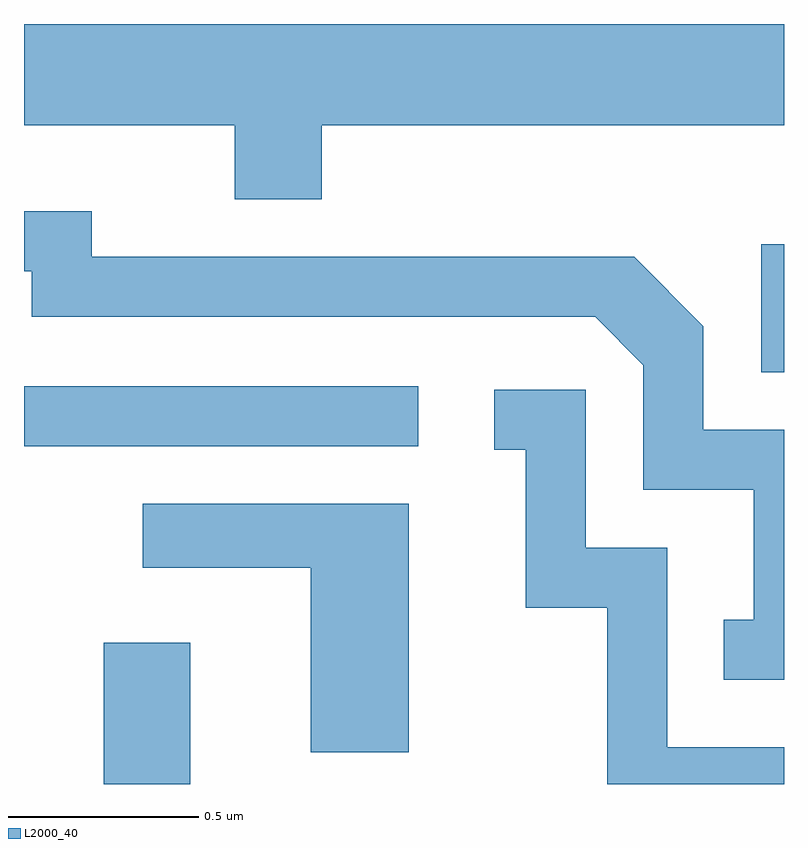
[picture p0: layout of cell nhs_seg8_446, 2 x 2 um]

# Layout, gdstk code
import gdstk
lib = gdstk.Library(unit=1e-6, precision=1e-09)
def R(c, l, rs):  # rectangles x0, y0, x1, y1
    for r in rs: c.add(gdstk.rectangle(r[:2], r[2:], *l))
def P(c, l, *ps):  # polygons
    for p in ps: c.add(gdstk.Polygon(p, *l))
L2000_40 = (2000, 40)

nhs_seg8_446 = lib.new_cell('nhs_seg8_446')
R(nhs_seg8_446, L2000_40, [(188.821,1841.342,189.049,1841.714), (188.611,1842.231,189.648,1842.389), (190.551,1842.426,190.611,1842.763)])
P(nhs_seg8_446, L2000_40, [(189.394,1843.076),(190.611,1843.076),(190.611,1843.342),(188.611,1843.342),(188.611,1843.076),(189.166,1843.076),(189.166,1842.881),(189.394,1842.881)],
  [(190.611,1842.274),(190.399,1842.274),(190.399,1842.547),(190.217,1842.729),(188.789,1842.729),(188.789,1842.849),(188.611,1842.849),(188.611,1842.691),(188.631,1842.691),(188.631,1842.571),(190.114,1842.571),(190.241,1842.444),(190.241,1842.116),(190.531,1842.116),(190.531,1841.774),(190.453,1841.774),(190.453,1841.616),(190.611,1841.616)],
  [(190.611,1841.439),(190.304,1841.439),(190.304,1841.964),(190.089,1841.964),(190.089,1842.379),(189.848,1842.379),(189.848,1842.221),(189.931,1842.221),(189.931,1841.806),(190.146,1841.806),(190.146,1841.342),(190.611,1841.342)],
  [(189.624,1842.079),(188.923,1842.079),(188.923,1841.911),(189.366,1841.911),(189.366,1841.426),(189.624,1841.426)])

lib.write_gds('nhs_seg8_446.gds')
